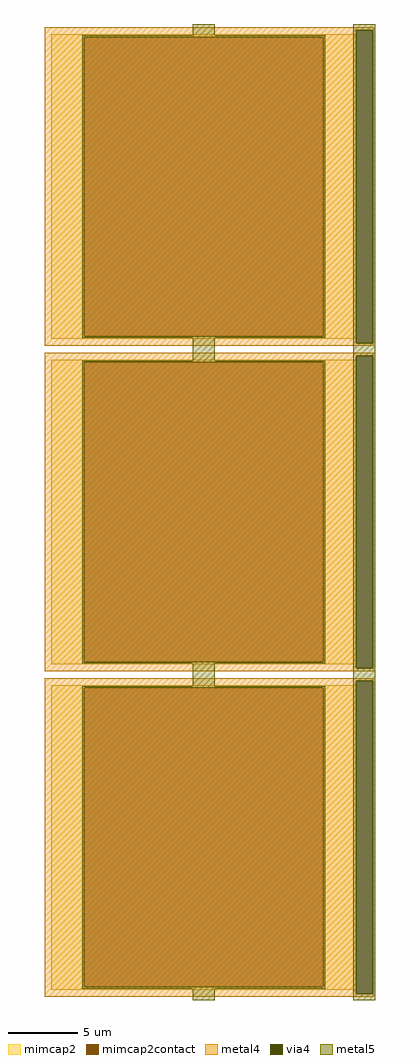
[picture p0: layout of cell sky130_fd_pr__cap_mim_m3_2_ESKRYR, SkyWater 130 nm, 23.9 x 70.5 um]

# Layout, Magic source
magic
tech sky130A
magscale 1 2
<< metal4 >>
rect -2379 6959 2379 7000
rect -2379 2441 2123 6959
rect 2359 2441 2379 6959
rect -2379 2400 2379 2441
rect -2379 2259 2379 2300
rect -2379 -2259 2123 2259
rect 2359 -2259 2379 2259
rect -2379 -2300 2379 -2259
rect -2379 -2441 2379 -2400
rect -2379 -6959 2123 -2441
rect 2359 -6959 2379 -2441
rect -2379 -7000 2379 -6959
<< via4 >>
rect 2123 2441 2359 6959
rect 2123 -2259 2359 2259
rect 2123 -6959 2359 -2441
<< mimcap2 >>
rect -2279 6860 2121 6900
rect -2279 2540 -1807 6860
rect 1649 2540 2121 6860
rect -2279 2500 2121 2540
rect -2279 2160 2121 2200
rect -2279 -2160 -1807 2160
rect 1649 -2160 2121 2160
rect -2279 -2200 2121 -2160
rect -2279 -2540 2121 -2500
rect -2279 -6860 -1807 -2540
rect 1649 -6860 2121 -2540
rect -2279 -6900 2121 -6860
<< mimcap2contact >>
rect -1807 2540 1649 6860
rect -1807 -2160 1649 2160
rect -1807 -6860 1649 -2540
<< metal5 >>
rect -239 6884 81 7050
rect 2081 6959 2401 7050
rect -1831 6860 1673 6884
rect -1831 2540 -1807 6860
rect 1649 2540 1673 6860
rect -1831 2516 1673 2540
rect -239 2184 81 2516
rect 2081 2441 2123 6959
rect 2359 2441 2401 6959
rect 2081 2259 2401 2441
rect -1831 2160 1673 2184
rect -1831 -2160 -1807 2160
rect 1649 -2160 1673 2160
rect -1831 -2184 1673 -2160
rect -239 -2516 81 -2184
rect 2081 -2259 2123 2259
rect 2359 -2259 2401 2259
rect 2081 -2441 2401 -2259
rect -1831 -2540 1673 -2516
rect -1831 -6860 -1807 -2540
rect 1649 -6860 1673 -2540
rect -1831 -6884 1673 -6860
rect -239 -7050 81 -6884
rect 2081 -6959 2123 -2441
rect 2359 -6959 2401 -2441
rect 2081 -7050 2401 -6959
<< properties >>
string FIXED_BBOX -2379 2400 2221 7000
string gencell sky130_fd_pr__cap_mim_m3_2
string library sky130
string parameters w 22 l 22 val 984.72 carea 2.00 cperi 0.19 nx 1 ny 3 dummy 0 square 0 lmin 2.00 wmin 2.00 lmax 30.0 wmax 30.0 dc 0 bconnect 1 tconnect 1 ccov 80
<< end >>
